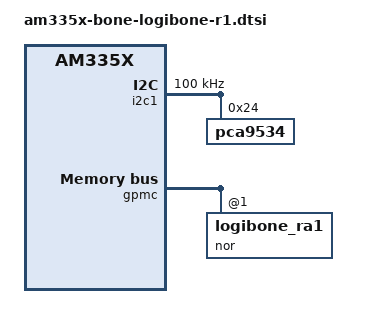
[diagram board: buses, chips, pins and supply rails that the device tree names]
/*
 * Copyright (C) 2012 Texas Instruments Incorporated - http://www.ti.com/
 *
 * This program is free software; you can redistribute it and/or modify
 * it under the terms of the GNU General Public License version 2 as
 * published by the Free Software Foundation.
*/


&i2c1 {
        pinctrl-names = "default";
        pinctrl-0 = <&i2c1_pins>;

        status = "okay";
        clock-frequency = <100000>;

	pca9534@24 {
		compatible = "pca9534";
		reg = <0x24>;
        };
};

&am33xx_pinmux {
	pinctrl-names = "default";

	gpmc_pins: pinmux_gpmc_pins {
		pinctrl-single,pins = <
			0x000 0x30	/* gpmc_ad0.gpmc_ad0 MODE0 | INPUT | PULLUP */
			0x004 0x30	/* gpmc_ad1.gpmc_ad1 MODE0 | INPUT | PULLUP */
			0x008 0x30	/* gpmc_ad2.gpmc_ad2 MODE0 | INPUT | PULLUP */
			0x00C 0x30	/* gpmc_ad3.gpmc_ad3 MODE0 | INPUT | PULLUP */
			0x010 0x30	/* gpmc_ad4.gpmc_ad4 MODE0 | INPUT | PULLUP */
			0x014 0x30	/* gpmc_ad5.gpmc_ad5 MODE0 | INPUT | PULLUP */
			0x018 0x30	/* gpmc_ad6.gpmc_ad6 MODE0 | INPUT | PULLUP */
			0x01C 0x30	/* gpmc_ad7.gpmc_ad7 MODE0 | INPUT | PULLUP */
			0x020 0x30	/* gpmc_ad8.gpmc_ad8 MODE0 | INPUT | PULLUP */
			0x024 0x30	/* gpmc_ad9.gpmc_ad9 MODE0 | INPUT | PULLUP */
			0x028 0x30	/* gpmc_ad10.gpmc_ad10 MODE0 | INPUT | PULLUP */
			0x02C 0x30	/* gpmc_ad11.gpmc_ad11 MODE0 | INPUT | PULLUP */
			0x030 0x30	/* gpmc_ad12.gpmc_ad12 MODE0 | INPUT | PULLUP */
			0x034 0x30	/* gpmc_ad13.gpmc_ad13 MODE0 | INPUT | PULLUP */
			0x038 0x30	/* gpmc_ad14.gpmc_ad14 MODE0 | INPUT | PULLUP */
			0x03C 0x30	/* gpmc_ad15.gpmc_ad15 MODE0 | INPUT | PULLUP */
			0x080 0x08	/* gpmc_cscn1.gpmc_cscn1 MODE0 | OUTPUT */
			0x08C 0x28	/* gpmc_clk.gpmc_clk MODE0 | INPUT */
			0x090 0x08	/* gpmc_advn_ale.gpmc_advn_ale MODE0 | OUTPUT */
			0x094 0x08	/* gpmc_oen_ren.gpmc_oen_ren MODE0 | OUTPUT */
			0x098 0x08	/* gpmc_wen.gpmc_wen MODE0 | OUTPUT */
			0x09C 0x08	/* gpmc_ben0_cle.gpmc_ben0_cle MODE0 | OUTPUT */
			0x078 0x08	/* gpmc_ben1_cle.gpmc_ben1_cle MODE0 | OUTPUT */
		>;
	};
};

&gpmc{
	depth = <1>;	/* only create devices on depth 1 */
	status = "okay";

	#address-cells = <2>;
	#size-cells = <1>;

	pinctrl-names = "default";
	pinctrl-0 = <&gpmc_pins>;

	/* chip select ranges */
	ranges = <1 0 0x01000000 0x1000000>;

	nor {
		compatible = "logibone_ra1";
		status = "okay";
		pinctrl-names = "default";

		/* reset = <&rstctl 0 0>; */ /* uncomment for use under Kernel 3.8.13 */
		/* reset-names = "eMMC_RSTn-LOGIBONE"; *//* uncomment for use under Kernel 3.8.13 */

		reg = <1 0 0x01000000>;			/*CSn1*/

		/* CONFIG1 */
		bank-width = <2>;			/* GPMC_CONFIG1_DEVICESIZE(1) */
		/*gpmc,burst-write;*/
		/*gpmc,burst-read;*/
		/*gpmc,burst-wrap;*/
		gpmc,sync-read;				/* GPMC_CONFIG1_READTYPE_ASYNC */
		gpmc,sync-write;			/* GPMC_CONFIG1_WRITETYPE_ASYNC */
		gpmc,clk-activation-ns = <0>;		/* GPMC_CONFIG1_CLKACTIVATIONTIME(2) */
		gpmc,burst-length = <16>;		/* GPMC_CONFIG1_PAGE_LEN(2) */
		gpmc,mux-add-data = <2>;		/* GPMC_CONFIG1_MUXTYPE(2) */

		/* CONFIG2 */
		gpmc,sync-clk-ps = <20000>;
		gpmc,cs-on-ns = <0>;
		gpmc,cs-rd-off-ns = <100>;
		gpmc,cs-wr-off-ns = <40>;

		/* CONFIG3 */
		gpmc,adv-on-ns = <0>;
		gpmc,adv-rd-off-ns = <20>;
		gpmc,adv-wr-off-ns = <20>;

		/* CONFIG4 */
		gpmc,we-on-ns = <20>;
		gpmc,we-off-ns = <40>;
		gpmc,oe-on-ns = <20>;
		gpmc,oe-off-ns = <100>;

		/* CONFIG 5 */
		gpmc,page-burst-access-ns = <20>;
		gpmc,access-ns = <80>;
		gpmc,rd-cycle-ns = <120>;
		gpmc,wr-cycle-ns = <60>;

		/* CONFIG 6 */
		gpmc,wr-access-ns = <40>;
		gpmc,wr-data-mux-bus-ns = <20>;
		/*gpmc,bus-turnaround-ns = <40>;*/	/* CONFIG6:3:0 = 4 */
		/*gpmc,cycle2cycle-samecsen;*/		/* CONFIG6:7 = 1 */
		/*gpmc,cycle2cycle-delay-ns = <40>;*/	/* CONFIG6:11:8 = 4 */

		/* not using dma engine yet, but we can get the channel number here */
		dmas = <&edma 20>;
		dma-names = "logibone";

	};
};

